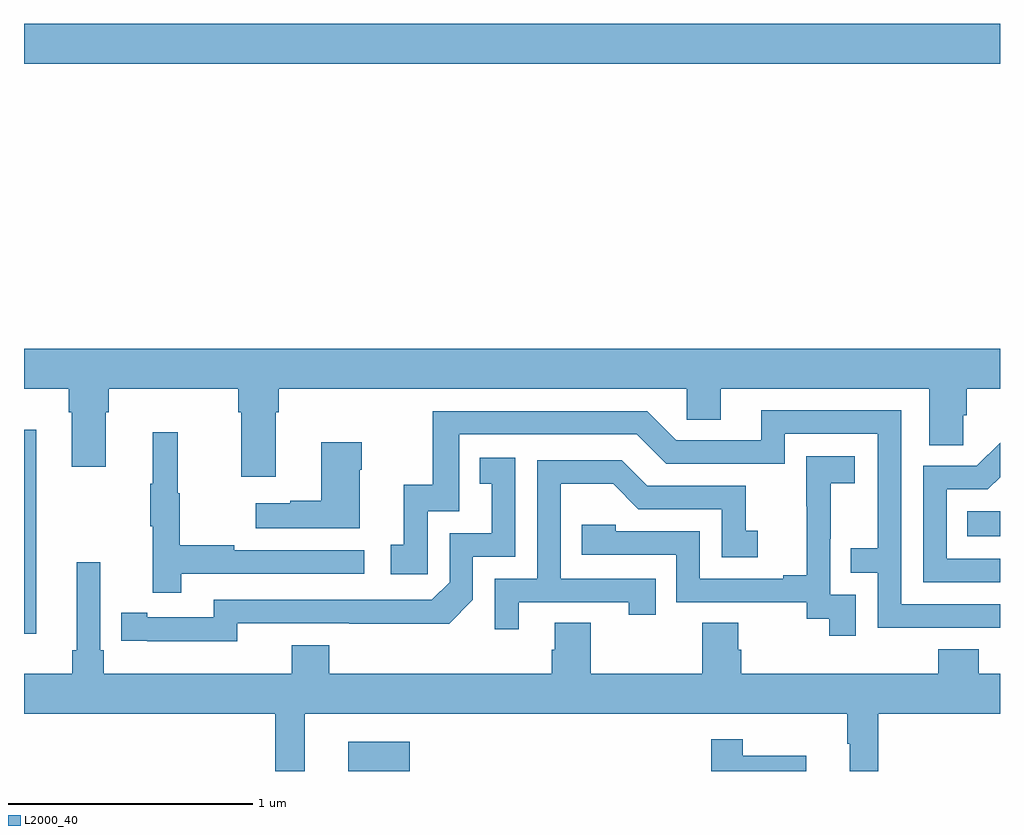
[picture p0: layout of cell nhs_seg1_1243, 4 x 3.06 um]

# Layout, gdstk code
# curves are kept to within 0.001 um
import gdstk
lib = gdstk.Library(unit=1e-6, precision=1e-09)
def R(c, l, rs):  # rectangles x0, y0, x1, y1
    for r in rs: c.add(gdstk.rectangle(r[:2], r[2:], *l))
def P(c, l, *ps):  # polygons
    for p in ps: c.add(gdstk.Polygon(p, *l))
L2000_40 = (2000, 40)

nhs_seg1_1243 = lib.new_cell('nhs_seg1_1243')
R(nhs_seg1_1243, L2000_40, [(180.329,514.199,180.58,514.321), (179,514.764,179.05,515.599), (182.866,515.162,183,515.266), (179,517.1,183,517.264)])
P(nhs_seg1_1243, L2000_40, [(180.031,515.672),(180.044,515.672),(180.044,515.768),(181.716,515.768),(181.716,515.641),(181.855,515.641),(181.855,515.768),(182.711,515.768),(182.711,515.536),(182.85,515.536),(182.85,515.659),(182.864,515.659),(182.864,515.768),(183,515.768),(183,515.932),(179,515.932),(179,515.768),(179.183,515.768),(179.183,515.672),(179.195,515.672),(179.195,515.448),(179.335,515.448),(179.335,515.672),(179.348,515.672),(179.348,515.768),(179.879,515.768),(179.879,515.672),(179.891,515.672),(179.891,515.406),(180.031,515.406)],
  [(183,514.884),(182.595,514.884),(182.595,515.679),(182.021,515.679),(182.021,515.556),(181.674,515.556),(181.554,515.676),(180.675,515.676),(180.675,515.374),(180.557,515.374),(180.557,515.127),(180.504,515.127),(180.504,515.007),(180.654,515.007),(180.654,515.265),(180.783,515.265),(180.783,515.58),(181.512,515.58),(181.632,515.46),(182.118,515.46),(182.118,515.583),(182.499,515.583),(182.499,515.114),(182.389,515.114),(182.389,515.013),(182.499,515.013),(182.499,514.788),(183,514.787)],
  [(179.645,515.01),(180.394,515.01),(180.394,515.106),(179.861,515.106),(179.861,515.126),(179.638,515.126),(179.638,515.34),(179.63,515.34),(179.63,515.59),(179.528,515.59),(179.528,515.377),(179.517,515.377),(179.517,515.203),(179.528,515.203),(179.528,514.932),(179.645,514.932)],
  [(180.376,515.435),(180.384,515.435),(180.384,515.548),(180.218,515.548),(180.218,515.309),(180.092,515.309),(180.092,515.299),(179.949,515.299),(179.949,515.195),(180.376,515.195)],
  [(183,515.07),(182.781,515.07),(182.781,515.355),(182.95,515.355),(183,515.405),(183,515.547),(182.904,515.451),(182.685,515.451),(182.685,514.974),(183,514.974)],
  [(182.409,514.923),(182.304,514.923),(182.304,515.153),(182.306,515.153),(182.306,515.381),(182.404,515.381),(182.404,515.491),(182.206,515.491),(182.206,515.285),(182.207,515.285),(182.207,515.002),(182.111,515.002),(182.111,514.989),(181.77,514.989),(181.77,515.184),(181.425,515.184),(181.425,515.211),(181.285,515.211),(181.285,515.088),(181.674,515.088),(181.674,514.893),(182.208,514.893),(182.208,514.825),(182.301,514.825),(182.301,514.755),(182.409,514.755)],
  [(179.874,514.806),(180.742,514.805),(180.84,514.902),(180.84,515.079),(181.014,515.079),(181.014,515.485),(180.868,515.485),(180.868,515.379),(180.917,515.379),(180.917,515.175),(180.744,515.175),(180.744,514.974),(180.672,514.902),(179.778,514.902),(179.778,514.83),(179.506,514.83),(179.506,514.85),(179.398,514.85),(179.398,514.734),(179.874,514.733)],
  [(181.027,514.893),(181.478,514.893),(181.478,514.842),(181.589,514.842),(181.589,514.989),(181.2,514.989),(181.2,515.378),(181.414,515.378),(181.518,515.274),(181.86,515.274),(181.86,515.076),(182.008,515.076),(182.008,515.185),(181.959,515.185),(181.959,515.37),(181.555,515.37),(181.45,515.475),(181.104,515.475),(181.104,514.989),(180.93,514.989),(180.93,514.782),(181.027,514.782)],
  [(180.151,514.436),(182.373,514.436),(182.373,514.313),(182.384,514.313),(182.384,514.199),(182.501,514.199),(182.501,514.436),(183,514.436),(183,514.6),(182.912,514.6),(182.912,514.699),(182.747,514.699),(182.747,514.6),(181.94,514.6),(181.94,514.698),(181.927,514.698),(181.927,514.808),(181.78,514.808),(181.78,514.6),(181.323,514.6),(181.323,514.808),(181.175,514.808),(181.175,514.698),(181.163,514.698),(181.163,514.6),(180.251,514.6),(180.251,514.717),(180.098,514.717),(180.098,514.6),(179.327,514.6),(179.327,514.696),(179.313,514.696),(179.313,515.056),(179.216,515.056),(179.216,514.696),(179.197,514.696),(179.197,514.6),(179,514.6),(179,514.436),(180.03,514.436),(180.03,514.199),(180.151,514.199)],
  [(182.206,514.264),(181.945,514.264),(181.945,514.33),(181.816,514.33),(181.816,514.199),(182.206,514.199)])

lib.write_gds('nhs_seg1_1243.gds')
